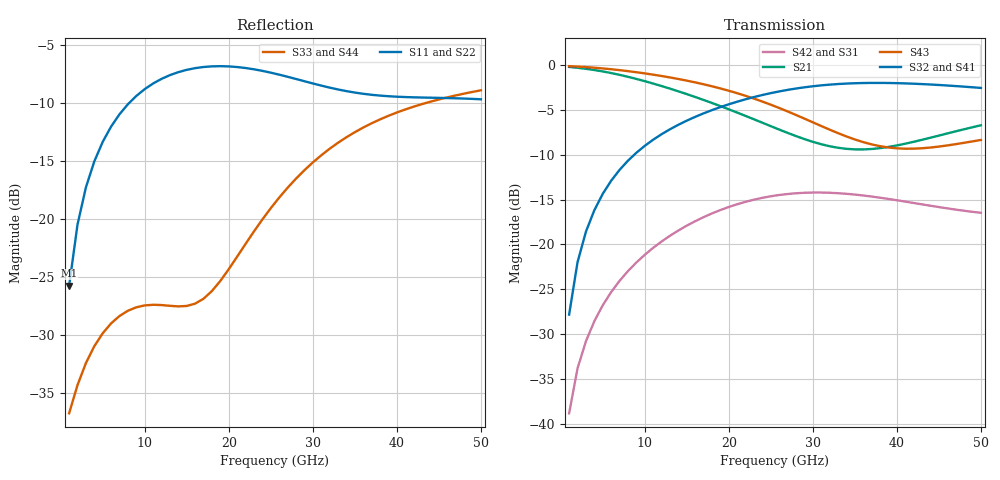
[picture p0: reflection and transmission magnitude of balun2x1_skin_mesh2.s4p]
! Created with skrf 2.2.0 (http://scikit-rf.org).
# GHz S DB R 50.0
! Port[1] = P1
! Port[2] = P2
! Port[3] = P3
! Port[4] = P4
!freq dBS11 angS11 dBS12 angS12 dBS13 angS13
! dBS14 angS14
! dBS21 angS21 dBS22 angS22 dBS23 angS23
! dBS24 angS24
! dBS31 angS31 dBS32 angS32 dBS33 angS33
! dBS34 angS34
! dBS41 angS41 dBS42 angS42 dBS43 angS43
! dBS44 angS44
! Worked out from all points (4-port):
!   50 points, 1 GHz to 50 GHz, reference 50 ohm
!   strongest paths, dB at 1 GHz, 13 GHz, 26 GHz, 38 GHz, 50 GHz:
!     S32: -27.8, -7.2, -2.9, -2.0, -2.6
!     S41: -27.8, -7.2, -3.0, -2.0, -2.6
!     S43: -0.1, -1.4, -4.8, -9.0, -8.4
!     S21: -0.2, -2.6, -7.2, -9.3, -6.7
!     S42: -38.8, -19.0, -14.5, -14.8, -16.5
!     S31: -38.8, -19.1, -14.6, -15.0, -16.6
!   lowest |S11| = -25.8 dB at 1 GHz (marker M1), VSWR 1.11, Z = 52.2 + j4.77 ohm
!   |S11| at or under -10 dB: start of sweep to 8.178 GHz
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1  -25.77 62.1  -0.21 -5.4  -38.84 -109.8  -27.82 84.3
   -0.21 -5.4  -25.77 62.1  -27.83 84.3  -38.83 -109.8
   -38.84 -109.8  -27.83 84.3  -36.75 24.3  -0.13 -2.6
   -27.82 84.3  -38.83 -109.8  -0.13 -2.6  -36.75 24.3
4  -15.05 60.6  -0.55 -20.0  -28.57 -135.8  -16.19 73.3
   -0.55 -20.0  -15.05 60.4  -16.19 73.3  -28.56 -135.9
   -28.57 -135.8  -16.19 73.3  -30.97 30.1  -0.30 -9.9
   -16.19 73.3  -28.56 -135.9  -0.30 -9.9  -30.95 30.2
9  -9.41 39.6  -1.55 -42.8  -22.03 -177.0  -9.78 55.9
   -1.55 -42.8  -9.42 39.2  -9.78 55.9  -22.02 -177.4
   -22.03 -177.0  -9.78 55.9  -27.62 2.4  -0.80 -21.1
   -9.78 55.9  -22.02 -177.4  -0.80 -21.1  -27.62 2.1
17  -6.92 8.9  -3.89 -78.2  -17.00 124.6  -5.39 31.6
    -3.89 -78.2  -6.95 8.1  -5.39 31.5  -16.96 123.9
    -17.00 124.6  -5.39 31.5  -26.88 -87.3  -2.14 -37.3
    -5.39 31.6  -16.96 123.9  -2.14 -37.3  -26.83 -88.3
28  -7.96 -19.0  -7.92 -138.9  -14.40 59.8  -2.63 -0.1
    -7.92 -138.9  -8.07 -20.3  -2.62 -0.3  -14.30 58.4
    -14.40 59.8  -2.62 -0.3  -16.54 167.2  -5.57 -52.9
    -2.63 -0.1  -14.30 58.4  -5.57 -52.9  -16.39 166.8
37  -9.32 -26.3  -9.36 154.8  -14.82 20.7  -2.02 -25.1
    -9.36 154.8  -9.58 -27.6  -1.99 -25.4  -14.66 18.5
    -14.82 20.7  -1.99 -25.4  -11.77 125.1  -8.85 -46.6
    -2.02 -25.1  -14.66 18.5  -8.85 -46.6  -11.62 124.7
50  -9.71 -37.4  -6.72 86.9  -16.59 -9.3  -2.59 -54.4
    -6.72 86.9  -10.02 -38.0  -2.55 -55.0  -16.47 -13.2
    -16.59 -9.3  -2.55 -55.0  -8.93 87.9  -8.35 -29.0
    -2.59 -54.4  -16.47 -13.2  -8.35 -29.0  -8.78 87.2
